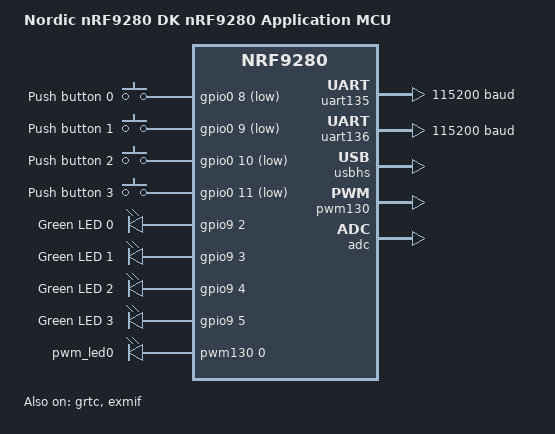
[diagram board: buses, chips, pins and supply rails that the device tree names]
/*
 * Copyright (c) 2024 Nordic Semiconductor ASA
 *
 * SPDX-License-Identifier: Apache-2.0
 */

/dts-v1/;

#include <nordic/nrf9280_cpuapp.dtsi>
#include "nrf9280pdk_nrf9280-memory_map.dtsi"
#include "nrf9280pdk_nrf9280-ipc_conf.dtsi"
#include "nrf9280pdk_nrf9280-pinctrl.dtsi"

/delete-node/ &cpurad_cpusys_ipc;
/delete-node/ &cpusec_cpurad_ipc;

/ {
	compatible = "nordic,nrf9280pdk_nrf9280-cpuapp";
	model = "Nordic nRF9280 DK nRF9280 Application MCU";

	chosen {
		zephyr,console = &uart136;
		zephyr,code-partition = &slot0_partition;
		zephyr,flash = &mram1x;
		zephyr,sram = &cpuapp_data;
		zephyr,shell-uart = &uart136;
		zephyr,uart-mcumgr = &uart136;
		zephyr,bt-hci = &bt_hci_ipc0;
		nordic,802154-spinel-ipc = &ipc0;
	};

	aliases {
		led0 = &led0;
		led1 = &led1;
		led2 = &led2;
		led3 = &led3;
		resetinfo = &cpuapp_resetinfo;
		pwm-led0 = &pwm_led0;
		sw0 = &button0;
		sw1 = &button1;
		sw2 = &button2;
		sw3 = &button3;
		ipc-to-cpusys = &cpuapp_cpusys_ipc;
		watchdog0 = &wdt010;
	};

	buttons {
		compatible = "gpio-keys";

		button0: button_0 {
			gpios = <&gpio0 8 (GPIO_PULL_UP | GPIO_ACTIVE_LOW)>;
			label = "Push button 0";
			zephyr,code = <INPUT_KEY_0>;
		};

		button1: button_1 {
			gpios = <&gpio0 9 (GPIO_PULL_UP | GPIO_ACTIVE_LOW)>;
			label = "Push button 1";
			zephyr,code = <INPUT_KEY_1>;
		};

		button2: button_2 {
			gpios = <&gpio0 10 (GPIO_PULL_UP | GPIO_ACTIVE_LOW)>;
			label = "Push button 2";
			zephyr,code = <INPUT_KEY_2>;
		};

		button3: button_3 {
			gpios = <&gpio0 11 (GPIO_PULL_UP | GPIO_ACTIVE_LOW)>;
			label = "Push button 3";
			zephyr,code = <INPUT_KEY_3>;
		};
	};

	leds {
		compatible = "gpio-leds";

		led0: led_0 {
			gpios = <&gpio9 2 GPIO_ACTIVE_HIGH>;
			label = "Green LED 0";
		};

		led1: led_1 {
			gpios = <&gpio9 3 GPIO_ACTIVE_HIGH>;
			label = "Green LED 1";
		};

		led2: led_2 {
			gpios = <&gpio9 4 GPIO_ACTIVE_HIGH>;
			label = "Green LED 2";
		};

		led3: led_3 {
			gpios = <&gpio9 5 GPIO_ACTIVE_HIGH>;
			label = "Green LED 3";
		};
	};

	pwmleds {
		compatible = "pwm-leds";

		/*
		 * LEDs are connected to GPIO Port 9 - pins 2-5. There is no valid hardware
		 * configuration to pass PWM signal on pins 0 and 1. First valid config is P9.2.
		 * Signal on PWM130's channel 0 can be passed directly on GPIO Port 9 pin 2.
		 */
		pwm_led0: pwm_led_0 {
			pwms = <&pwm130 0 PWM_MSEC(20) PWM_POLARITY_NORMAL>;
		};
	};
};

&cpuapp_ram0x_region {
	status = "okay";
};

&cpuapp_cpucell_ram0x_region {
	status = "okay";
};

&ram21_region {
	status = "okay";
};

&cpuapp_bellboard {
	status = "okay";
	interrupts = <96 NRF_DEFAULT_IRQ_PRIORITY>;
	interrupt-names = "irq0";
	/* The following bells on this bellboard are rang by these cores
	 *  - Bell 0: cpusec
	 *  - Bell 6: cpusys
	 *  - Bell 13: cpuppr
	 *  - Bell 18: cpurad
	 *  - Bells 24, 25, 29, 31: cpucell
	 */
	nordic,interrupt-mapping = <0xA3042041 0>;
};

&cpurad_bellboard {
	status = "okay";
};

&cpucell_bellboard {
	status = "okay";
};

&cpusec_bellboard {
	status = "okay";
};

&cpusys_vevif {
	status = "okay";
};

&cpusec_cpuapp_ipc {
	mbox-names = "tx", "rx";
	status = "okay";
};

ipc0: &cpuapp_cpurad_ipc {
	status = "okay";
	mbox-names = "rx", "tx";
	tx-region = <&cpuapp_cpurad_ipc_shm>;
	rx-region = <&cpurad_cpuapp_ipc_shm>;
	tx-blocks = <32>;
	rx-blocks = <32>;

	bt_hci_ipc0: bt_hci_ipc0 {
		compatible = "zephyr,bt-hci-ipc";
		status = "okay";
	};
};

&cpuapp_cpusys_ipc {
	status = "okay";
	mbox-names = "rx", "tx";
	tx-region = <&cpuapp_cpusys_ipc_shm>;
	rx-region = <&cpusys_cpuapp_ipc_shm>;
};

&cpuapp_cpuppr_ipc {
	mbox-names = "rx", "tx";
	tx-region = <&cpuapp_cpuppr_ipc_shm>;
	rx-region = <&cpuppr_cpuapp_ipc_shm>;
};

&cpuapp_dma_region {
	status = "okay";
};

ironside_se_boot_report: &cpuapp_ironside_se_boot_report {};

boot_partition: &cpuapp_boot_partition {
	label = "mcuboot";
};

slot0_partition: &cpuapp_slot0_partition {
	label = "image-0";
};

slot1_partition: &cpuapp_slot1_partition {
	label = "image-1";
};

&cpuppr_vpr {
	execution-memory = <&cpuppr_code_data>;
	source-memory = <&cpuppr_code_partition>;
};

&gpiote130 {
	status = "okay";
	owned-channels = <0 1 2 3 4 5 6 7>;
};

&gpio0 {
	status = "okay";
};

&gpio2 {
	status = "okay";
};

&gpio9 {
	status = "okay";
};

&grtc {
	status = "okay";
	child-owned-channels = <5 6>;
	nonsecure-channels = <5 6>;
	owned-channels = <4 5 6>;
};

&uart135 {
	current-speed = <115200>;
	pinctrl-0 = <&uart135_default>;
	pinctrl-1 = <&uart135_sleep>;
	pinctrl-names = "default", "sleep";
};

&uart136 {
	status = "okay";
	memory-regions = <&cpuapp_dma_region>;
	current-speed = <115200>;
	pinctrl-0 = <&uart136_default>;
	pinctrl-1 = <&uart136_sleep>;
	pinctrl-names = "default", "sleep";
};

&gpio6 {
	status = "okay";
};

&exmif {
	pinctrl-0 = <&exmif_default>;
	pinctrl-1 = <&exmif_sleep>;
	pinctrl-names = "default", "sleep";
	status = "okay";

	mx25uw63: mx25uw6345g@0 {
		compatible = "mxicy,mx25u", "jedec,mspi-nor";
		status = "disabled";
		reg = <0>;
		jedec-id = [c2 84 37];
		sfdp-bfp = [e5 20 8a ff ff ff ff 03 00 ff 00 ff 00 ff 00 ff
			    ee ff ff ff ff ff 00 ff ff ff 00 ff 0c 20 10 d8
			    00 ff 00 ff 87 79 01 00 84 12 00 c4 cc 04 67 46
			    30 b0 30 b0 f4 bd d5 5c 00 00 00 ff 10 10 00 20
			    00 00 00 00 00 00 7c 23 48 00 00 00 00 00 88 88];
		sfdp-ff05 = [00 ee c0 69 72 72 71 71 00 d8 f7 f6 00 0a 00 00
			     14 45 98 80];
		sfdp-ff84 = [43 06 0f 00 21 dc ff ff];
		size = <67108864>;
		has-dpd;
		t-enter-dpd = <10000>;
		t-exit-dpd = <30000>;
		reset-gpios = <&gpio6 12 GPIO_ACTIVE_LOW>;
		t-reset-pulse = <10000>;
		t-reset-recovery = <35000>;

		mspi-max-frequency = <DT_FREQ_M(50)>;
		mspi-io-mode = "MSPI_IO_MODE_OCTAL";
		mspi-data-rate = "MSPI_DATA_RATE_SINGLE";
		mspi-hardware-ce-num = <1>;
		mspi-cpp-mode = "MSPI_CPP_MODE_0";
		mspi-endian = "MSPI_BIG_ENDIAN";
		mspi-ce-polarity = "MSPI_CE_ACTIVE_LOW";
	};
};

zephyr_udc0: &usbhs {
	status = "okay";
};

&pwm130 {
	status = "okay";
	pinctrl-0 = <&pwm130_default>;
	pinctrl-1 = <&pwm130_sleep>;
	pinctrl-names = "default", "sleep";
	memory-regions = <&cpuapp_dma_region>;
};

&adc {
	memory-regions = <&cpuapp_dma_region>;
	status = "okay";
};
